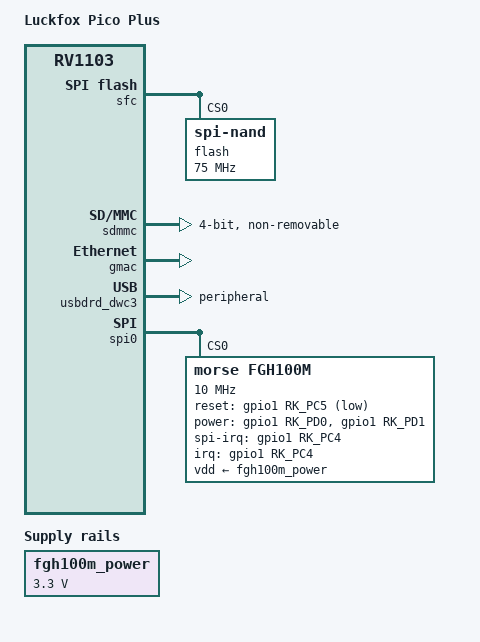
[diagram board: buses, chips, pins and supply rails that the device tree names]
// SPDX-License-Identifier: (GPL-2.0+ OR MIT)
/*
 * Copyright (c) 2022 Rockchip Electronics Co., Ltd.
 * Copyright (c) 2024 FGH100M WiFi HaLow Integration
 */

/dts-v1/;

#include "rv1103.dtsi"
#include "rv1106-evb.dtsi"
#include "rv1103-luckfox-pico-ipc.dtsi"

/ {
	model = "Luckfox Pico Plus";
	compatible = "rockchip,rv1103g-38x38-ipc-v10", "rockchip,rv1103";

	/* GPIO regulator for FGH100M power control */
	fgh100m_power: fgh100m-power-regulator {
		compatible = "regulator-fixed";
		regulator-name = "fgh100m-power";
		regulator-min-microvolt = <3300000>;
		regulator-max-microvolt = <3300000>;
		regulator-boot-on;
		regulator-always-on;
		startup-delay-us = <10000>;
	};
};

/**********SFC**********/
&sfc {
	status = "okay";
	flash@0 {
		compatible = "spi-nand";
		reg = <0>;
		spi-max-frequency = <75000000>;
		spi-rx-bus-width = <4>;
		spi-tx-bus-width = <1>;
	};
};

/**********SDMMC**********/
&sdmmc {
	max-frequency = <50000000>;
	no-mmc;
	bus-width = <4>;
	cap-mmc-highspeed;
	cap-sd-highspeed;
	disable-wp;
	
	//sdio
	cap-sdio-irq;
	non-removable;	
	no-1-8-v;
	supports-sdio;

	pinctrl-names = "default";
	pinctrl-0 = <&sdmmc0_clk &sdmmc0_cmd &sdmmc0_det &sdmmc0_bus4>;
	status = "okay";
};

/**********ETH**********/
&gmac {
	status = "okay";
};

/**********USB**********/
&usbdrd_dwc3 {
	status = "okay";
	dr_mode = "peripheral";
};

/**********SPI**********/
/* SPI0_M0 */
&spi0 {
	status = "okay";
	pinctrl-names = "default";
	pinctrl-0 = <&spi0m0_cs0 &spi0m0_pins>;

	fgh100m: fgh100m@0 {
		compatible = "morse,fgh100m";
		reg = <0>;
		spi-max-frequency = <10000000>;
		spi-cpha;
		spi-cpol;
		
		/* Power supply */
		vdd-supply = <&fgh100m_power>;
		
		/* GPIO pins for FGH100M control (following driver requirements from of.c) */
		reset-gpios = <&gpio1 RK_PC5 GPIO_ACTIVE_LOW>;         /* GPIO1_C5 - nRESET pin */
		power-gpios = <&gpio1 RK_PD0 GPIO_ACTIVE_HIGH>,        /* GPIO1_D0 - HOST_WAKE pin (index 0) */
		             <&gpio1 RK_PD1 GPIO_ACTIVE_HIGH>;          /* GPIO1_D1 - BUSY pin (GPIO0) (index 1) */
		spi-irq-gpios = <&gpio1 RK_PC4 GPIO_ACTIVE_HIGH>;      /* GPIO1_C4 - WIRQ pin */
		
		/* Interrupt configuration */
		interrupt-parent = <&gpio1>;
		interrupts = <RK_PC4 IRQ_TYPE_EDGE_RISING>;             /* WIRQ interrupt */
		interrupt-names = "fgh100m-irq";
		
		/* Module configuration */
		morse,country-code = "AU";
		morse,power-save-mode = <0>;
		morse,use-spi = <1>;
		morse,max-ampdu-len = <65535>;
		
		/* Antenna configuration */
		morse,antenna-config = <1>; /* Single antenna */
		
		status = "okay";
	};
};

/**********I2C**********/
/* I2C3_M1 */
&i2c3 {
	status = "disabled";
	clock-frequency = <100000>;
};

/* I2C0_M2 */
&i2c0 {
	status = "disabled";
	clock-frequency = <100000>;
};

/**********UART**********/
/* UART3_M1 */
&uart3 {
	status = "disabled";
};

/* UART4_M1 */
&uart4 {
	status = "disabled";
};

/**********PWM**********/
/* PWM1_M0 */
&pwm1 {
	status = "disabled";
};

/* Additional pinctrl for FGH100M GPIOs */
&pinctrl {
	fgh100m {
		fgh100m_pins: fgh100m-pins {
			rockchip,pins =
				/* Reset pin: GPIO1_C5 (nRESET) */
				<1 RK_PC5 0 &pcfg_pull_up>,
				/* Wake pin: GPIO1_D0 (HOST_WAKE) */
				<1 RK_PD0 0 &pcfg_pull_down>,
				/* Busy pin: GPIO1_D1 (GPIO0/BUSY) */
				<1 RK_PD1 0 &pcfg_pull_down>,
				/* IRQ pin: GPIO1_C4 (WIRQ) */
				<1 RK_PC4 0 &pcfg_pull_down>;
		};
	};
};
